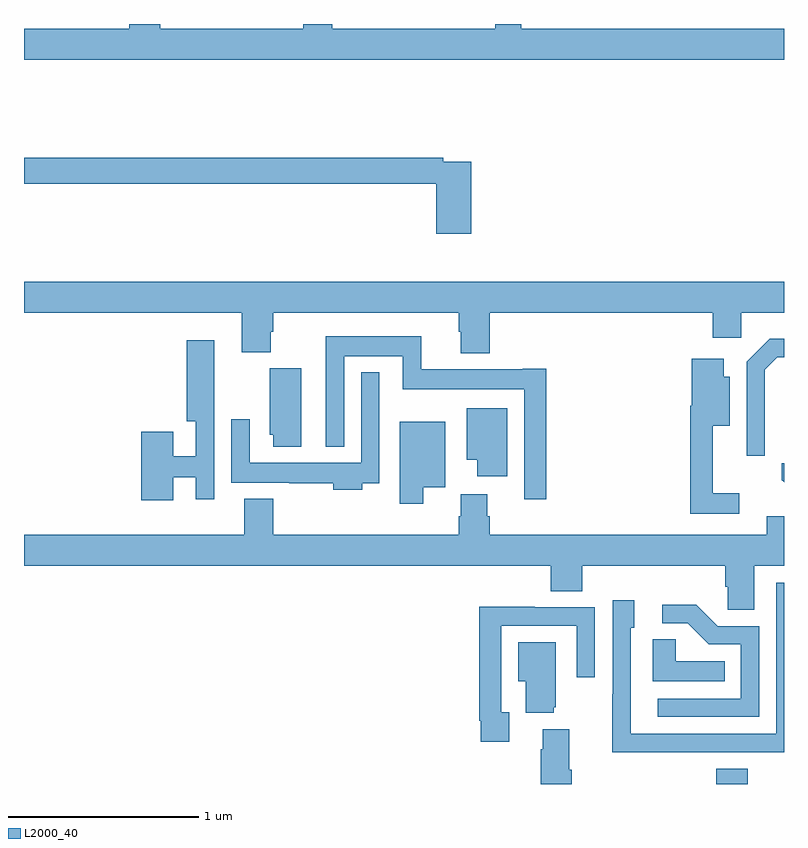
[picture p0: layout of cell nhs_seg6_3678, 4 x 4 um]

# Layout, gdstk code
import gdstk
lib = gdstk.Library(unit=1e-6, precision=1e-09)
def R(c, l, rs):  # rectangles x0, y0, x1, y1
    for r in rs: c.add(gdstk.rectangle(r[:2], r[2:], *l))
def P(c, l, *ps):  # polygons
    for p in ps: c.add(gdstk.Polygon(p, *l))
L2000_40 = (2000, 40)

nhs_seg6_3678 = lib.new_cell('nhs_seg6_3678')
R(nhs_seg6_3678, L2000_40, [(328.643,967.5,328.808,967.579)])
P(nhs_seg6_3678, L2000_40, [(329,971.476),(327.618,971.476),(327.618,971.5),(327.479,971.5),(327.479,971.476),(326.623,971.476),(326.623,971.5),(326.471,971.5),(326.471,971.476),(325.718,971.476),(325.718,971.5),(325.553,971.5),(325.553,971.476),(325,971.476),(325,971.312),(329,971.312)],
  [(327.353,970.776),(327.206,970.776),(327.206,970.796),(325,970.796),(325,970.66),(327.17,970.66),(327.17,970.395),(327.353,970.395)],
  [(325,969.98),(326.147,969.98),(326.147,969.772),(326.299,969.772),(326.299,969.881),(326.312,969.881),(326.312,969.98),(327.287,969.98),(327.287,969.879),(327.299,969.879),(327.299,969.767),(327.452,969.767),(327.452,969.98),(328.625,969.98),(328.625,969.849),(328.776,969.849),(328.776,969.98),(329,969.98),(329,970.144),(325,970.144)],
  [(327.749,969.685),(327.626,969.685),(327.626,969.682),(327.092,969.682),(327.092,969.856),(326.588,969.856),(326.588,969.275),(326.685,969.275),(326.685,969.752),(326.994,969.752),(326.994,969.578),(327.633,969.578),(327.633,969),(327.749,969)],
  [(328.899,969.681),(328.965,969.747),(329,969.747),(329,969.844),(328.924,969.844),(328.803,969.723),(328.803,969.228),(328.899,969.228)],
  [(325.786,969.114),(325.905,969.114),(325.905,969),(326.001,969),(326.001,969.514),(326.002,969.514),(326.002,969.835),(325.856,969.835),(325.856,969.41),(325.905,969.41),(325.905,969.224),(325.786,969.224),(325.786,969.355),(325.616,969.355),(325.616,968.994),(325.786,968.994)],
  [(328.765,969.031),(328.625,969.031),(328.625,969.386),(328.714,969.386),(328.714,969.643),(328.684,969.643),(328.684,969.739),(328.514,969.739),(328.514,969.49),(328.507,969.49),(328.507,968.922),(328.765,968.922)],
  [(326.458,969.687),(326.294,969.687),(326.294,969.339),(326.312,969.339),(326.312,969.276),(326.458,969.276)],
  [(326.779,969.084),(326.871,969.084),(326.871,969.667),(326.775,969.667),(326.775,969.19),(326.187,969.19),(326.187,969.421),(326.091,969.421),(326.091,969.086),(326.395,969.086),(326.395,969.084),(326.627,969.084),(326.627,969.05),(326.779,969.05)],
  [(327.544,969.478),(327.329,969.478),(327.329,969.206),(327.386,969.206),(327.386,969.12),(327.544,969.12)],
  [(327.1,969.062),(327.217,969.062),(327.217,969.406),(326.978,969.406),(326.978,968.976),(327.1,968.976)],
  [(329,969.187),(328.989,969.187),(328.989,969.099),(329,969.088)],
  [(328.843,968.648),(329,968.648),(329,968.91),(328.91,968.91),(328.91,968.812),(327.452,968.812),(327.452,968.91),(327.439,968.91),(327.439,969.025),(327.299,969.025),(327.299,968.91),(327.287,968.91),(327.287,968.812),(326.312,968.812),(326.312,969.001),(326.159,969.001),(326.159,968.812),(325,968.812),(325,968.648),(327.773,968.648),(327.773,968.515),(327.938,968.515),(327.938,968.648),(328.691,968.648),(328.691,968.539),(328.704,968.539),(328.704,968.416),(328.843,968.416)],
  [(328.559,967.668),(329,967.668),(329,968.559),(328.959,968.559),(328.959,967.764),(328.194,967.764),(328.194,968.322),(328.213,968.322),(328.213,968.467),(328.098,968.467),(328.098,967.973),(328.096,967.973),(328.096,967.667),(328.559,967.667)],
  [(328.869,968.331),(328.65,968.331),(328.537,968.444),(328.359,968.444),(328.359,968.346),(328.493,968.346),(328.604,968.235),(328.773,968.235),(328.773,967.95),(328.335,967.95),(328.335,967.854),(328.869,967.854)],
  [(327.553,967.878),(327.513,967.878),(327.513,968.334),(327.909,968.334),(327.909,968.061),(328.005,968.061),(328.005,968.43),(327.689,968.43),(327.689,968.432),(327.397,968.432),(327.397,967.834),(327.405,967.834),(327.405,967.722),(327.553,967.722)],
  [(328.688,968.146),(328.431,968.146),(328.431,968.261),(328.31,968.261),(328.31,968.042),(328.688,968.042)],
  [(327.788,967.905),(327.799,967.905),(327.799,968.245),(327.602,968.245),(327.602,968.042),(327.641,968.042),(327.641,967.874),(327.788,967.874)],
  [(327.884,967.576),(327.871,967.576),(327.871,967.789),(327.731,967.789),(327.731,967.682),(327.719,967.682),(327.719,967.5),(327.884,967.5)])

lib.write_gds('nhs_seg6_3678.gds')
